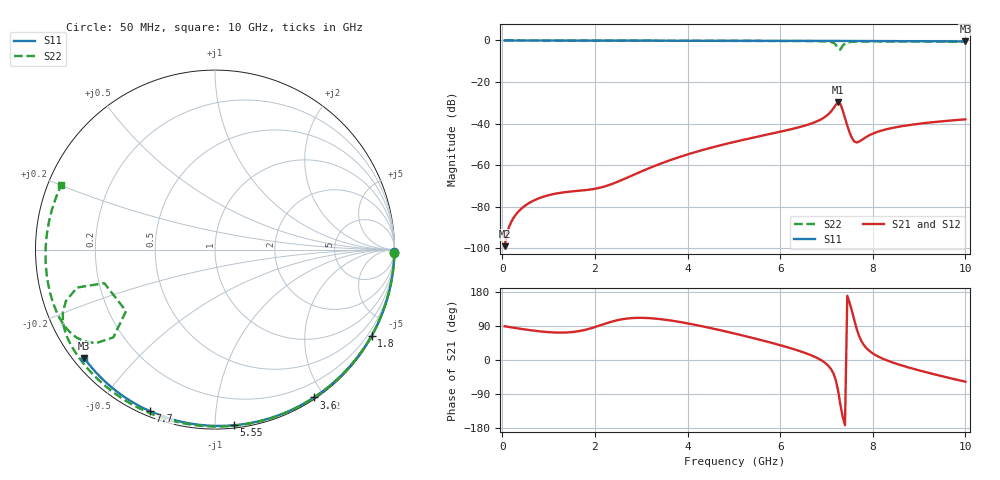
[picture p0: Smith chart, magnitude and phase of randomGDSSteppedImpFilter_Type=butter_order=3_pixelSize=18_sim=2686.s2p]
! freq	dB(S11)	phase(S11)	dB(S12)	phase(S12)
!  dB(S21)	phase(S21)	dB(S22)	phase(S22)
!S-par simulation data
#  GHz  S  DB  R 50
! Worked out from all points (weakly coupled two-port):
!   200 points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, 50 MHz to 10 GHz, reference 50 ohm
!   highest |S21| = -29.68 dB at 7.25 GHz (marker M1); lowest = -99.1 dB at 50 MHz (marker M2)
!   lowest |S11| = -0.5 dB at 10 GHz (marker M3), VSWR 36.46, Z = 1.55 - j18 ohm
!   |S11| at or under -10 dB: nowhere
!   |S22| runs from -4.4 to 0.0 dB; largest |S21 - S12| = 0
!   S11 on the Smith chart (normalised r, x): 50 MHz: open; 1.8 GHz: 0.03, -3.90; 3.6 GHz: 0.02, -1.87; 5.55 GHz: 0.02, -1.11; 7.7 GHz: 0.02, -0.68; 10 GHz: 0.03, -0.36
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0.05  -0.00 -0.8  -99.05 89.1  -99.05 89.1  -0.00 -1.2
0.45  -0.01 -7.3  -80.27 81.3  -80.27 81.3  -0.01 -10.8
1  -0.02 -16.1  -74.50 73.5  -74.50 73.5  -0.03 -23.9
1.75  -0.04 -28.0  -72.18 78.5  -72.18 78.5  -0.05 -41.4
1.8  -0.04 -28.8  -72.06 79.9  -72.06 79.9  -0.05 -42.6
2.3  -0.05 -36.6  -69.66 98.9  -69.66 98.9  -0.07 -53.9
3.4  -0.07 -53.2  -59.48 108.1  -59.48 108.1  -0.10 -77.7
3.6  -0.08 -56.2  -57.84 104.9  -57.84 104.9  -0.11 -81.9
5.05  -0.12 -77.0  -48.64 68.9  -48.64 68.9  -0.17 -111.0
5.55  -0.14 -83.8  -46.14 53.8  -46.14 53.8  -0.20 -120.7
6.7  -0.19 -99.1  -39.80 10.9  -39.80 10.9  -0.31 -144.1
7.1  -0.21 -104.4  -34.17 -24.2  -34.17 -24.2  -0.76 -157.7
7.2  -0.23 -105.7  -31.03 -52.3  -31.03 -52.3  -1.97 -164.6
7.25  -0.25 -106.3  -29.68 -80.3  -29.68 -80.3  -3.82 -163.1
7.3  -0.26 -106.9  -30.44 -117.8  -30.44 -117.8  -4.40 -145.3
7.35  -0.26 -107.4  -33.62 -149.6  -33.62 -149.6  -2.52 -139.2
7.4  -0.25 -108.1  -37.41 -172.1  -37.41 -172.1  -1.47 -141.9
7.55  -0.25 -110.0  -46.99 129.6  -46.99 129.6  -0.66 -149.8
7.6  -0.26 -110.6  -48.66 105.8  -48.66 105.8  -0.58 -151.6
7.7  -0.26 -111.9  -48.76 64.7  -48.76 64.7  -0.51 -154.7
8.35  -0.31 -120.0  -42.48 -3.1  -42.48 -3.1  -0.46 -169.4
10  -0.48 -140.3  -37.98 -57.3  -37.98 -57.3  -0.64 157.0
